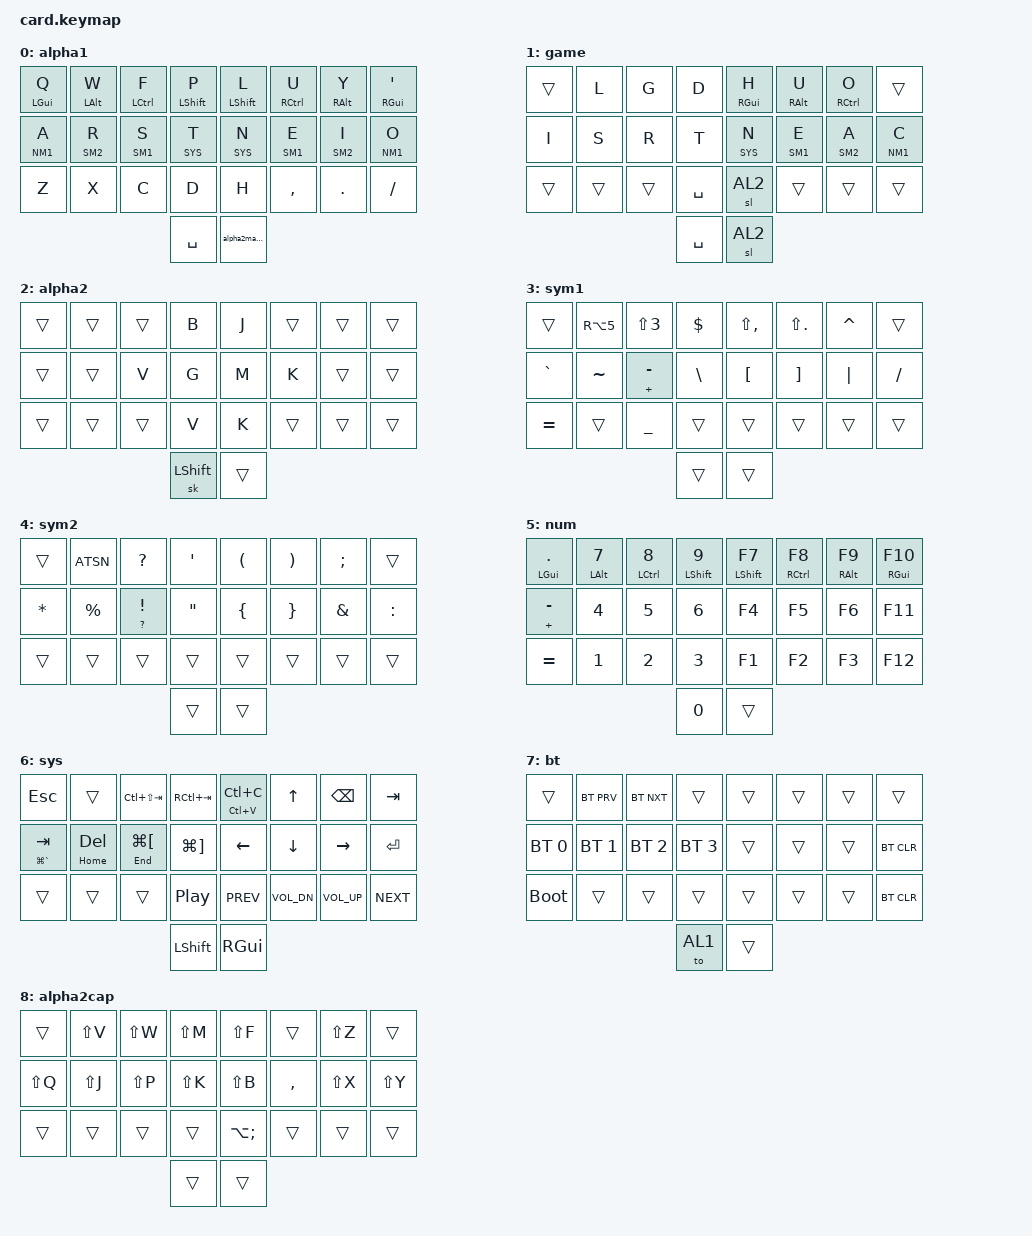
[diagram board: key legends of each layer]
/*
 * Copyright (c) 2020 The ZMK Contributors
 *
 * SPDX-License-Identifier: MIT
 */

#include <behaviors.dtsi>
#include <dt-bindings/zmk/keys.h>
#include <dt-bindings/zmk/bt.h>
#include <dt-bindings/zmk/mouse.h>


&mt {
    tapping-term-ms = <201>;
    flavor = "tap-preferred";
 };
&sk {
     release-after-ms = <2000>;
     quick-release;
 };
 
/* Layers */
#define AL1 0
#define GM 1
#define AL2 2
#define AL2U 8
#define SM1 3
#define SM2 4	
#define NM1 5	
#define SYS 6
#define BT 7	
/ { 
    combos {
        compatible = "zmk,combos";
        combo_game {
            timeout-ms = <30>;
	    key-positions = <2 3 4 5>;
            bindings = <&to GM>;
        };
        combo_sys {
            timeout-ms = <30>;
	    key-positions = <4 5 6>;
            bindings = <&to SYS>;
        };
        combo_caps {
            timeout-ms = <30>;
	    key-positions = <12 13 14>;
            bindings = <&caps_word>;
        };
        combo_bt  {
            timeout-ms = <10>;
            key-positions = <13 14>;
            bindings = <&to BT>;
	    layers = <SM1>; 
        };
        lalt {
            timeout-ms = <20>;
	    key-positions = <10 11>;
            bindings = <&kp LALT>; 
	    layers = <SYS>; 
        };
        lclk {
            timeout-ms = <20>;
	    key-positions = <12	13>;
            bindings = <&mkp LCLK>;
	    layers = <SYS>;
        };
        rclk {
            timeout-ms = <20>;
	    key-positions = <4 5>;
            bindings = <&mkp RCLK>;
	    layers = <SYS>;
        };
    };

    behaviors {
        hm: homerow_mods {
            compatible = "zmk,behavior-hold-tap";
            label = "HOMEROW_MODS";
            #binding-cells = <2>;
            tapping-term-ms = <300>;
            quick_tap_ms = <0>;
            flavor = "tap-preferred";
            bindings = <&kp>, <&kp>;
        };
        sr: shift_layer {
            compatible = "zmk,behavior-hold-tap";
            label = "SHIFT_LAYER";
            #binding-cells = <2>;
            tapping-term-ms = <300>;
            quick_tap_ms = <0>;
            flavor = "tap-preferred";
            bindings = <&kp>, <&to>;
	    retro-tap;
        };
        hl: homerow_layers {
            compatible = "zmk,behavior-hold-tap";
            label = "HOMEROW_LAYERS";
            #binding-cells = <2>;
            tapping-term-ms = <220>;
            quick_tap_ms = <0>;
            flavor = "tap-preferred";
            bindings = <&sl>, <&kp>;
        };
	td: tapdance {
            compatible = "zmk,behavior-hold-tap";
            label = "TAPDANCE";
            #binding-cells = <2>;
            tapping-term-ms = <190>;
            quick_tap_ms = <0>;
            flavor = "tap-preferred";
            bindings = <&kp>, <&kp>;
        };
	alpha2macro: behavior_macro_1 {
		compatible = "zmk,behavior-macro";
		label = "MACRO1";
		#binding-cells = <0>;
		bindings = < &sl AL2 >;
	};

//   00 01 02 03		04 05 06 07
//   08 09 10 11		12 13 14 15
//   16 17 18 19		20 21 22 23
//            24		25
    };
       keymap {
                compatible = "zmk,keymap";
                
       		alpha1 {
		bindings = <
		&hm LGUI Q 	&hm LALT W 		&hm LCTL F 		&hm LSHIFT P			&hm LSHIFT L 	&hm RCTL U    	&hm RALT Y	&hm RGUI SQT  
		&hl NM1 A	&hl SM2 R		&hl SM1 S		&hl SYS T 	 			&hl SYS N   	&hl SM1 E     	&hl SM2 I 	&hl NM1 O
		&kp Z	 	&kp X 			&kp C 			&kp D				 	&kp H			&kp COMMA		&kp DOT		&kp SLASH
													&kp SPC					&alpha2macro
		>;
		};
       		game {
		bindings = <
		&trans 		&kp L 			&kp G 			&kp D					&hm RGUI H 		&hm RALT U    	&hm RCTL O	&trans  
		&kp I		&kp S			&kp R			&kp T 		 			&hl SYS N    	&hl SM1 E   	&hl SM2  A 	&hl NM1 C
		&trans	 	&trans 			&trans 			&kp SPC 				&sl AL2			&trans 			&trans		&trans
													&kp SPC	 				&sl AL2
		>;
		};
       		alpha2 {
		bindings = <
		&trans 	 	&trans 			&trans			&kp B	 	 			&kp J    		&trans			&trans 		&trans
		&trans	 	&trans			&kp V			&kp G 					&kp M 			&kp K			&trans		&trans 
		&trans	 	&trans 			&trans 			&kp V	 				&kp K			&trans			&trans		&trans
													&sk LSHIFT	 			&trans
		>;
		};
		
       		sym1 {
		bindings = <
		&trans 		&kp RA(N5)  	&kp LS(N3)		&kp DLLR	    		&kp LS(COMMA)	&kp LS(DOT)		&kp CARET	&trans
		&kp GRAVE	&kp TILDE 		&td PLUS MINUS  &kp BSLH	 			&kp LBKT		&kp RBKT	 	&kp PIPE 	&kp SLASH
		&kp EQUAL	&trans  		&kp UNDER		&trans  				&trans			&trans 			&trans  	&trans
							 						&trans		 			&trans
		>;
		};
			sym2 {
		bindings = <
		&trans		&kp ATSN		&kp QMARK		&kp SQT					&kp LPRN		&kp RPRN 	&kp SEMI 	&trans
		&kp STAR  	&kp PRCNT		&td QMARK EXCL  &kp DQT   				&kp LBRC  		&kp RBRC	&kp AMPS	&kp COLON 
		&trans 		&trans 			&trans  		&trans 					&trans 			&trans 		&trans 		&trans   
						 							&trans					&trans

		>;
		};

			num {
		bindings = <
		&hm LGUI DOT		&hm LALT N7	 	&hm LCTL N8		&hm LSHIFT N9 		&hm LSHIFT F7 	&hm RCTL F8  	&hm RALT F9 &hm RGUI F10
		&td PLUS MINUS		&kp N4  		&kp N5			&kp N6				&kp F4  		&kp F5			&kp F6   	&kp F11
		&kp EQUAL  			&kp N1 			&kp N2			&kp N3		 		&kp F1 			&kp F2			&kp F3  	&kp F12
															&kp N0	 	 		&trans
		>;
		};

			sys {
		bindings = <
		&kp ESC				&trans			&kp LC(LS(TAB))		&kp RC(TAB)				&td LC(V) LC(C) 	&kp UP 			&kp BKSP		&kp TAB
		&td LG(GRAVE) TAB	&td HOME DEL	&td END LG(LBKT) 	&kp LG(RBKT)			&kp LEFT	  		&kp DOWN 		&kp RIGHT		&kp RET 
		&trans	 			&trans 		 	&trans				&kp C_PP	 			&kp C_PREV			&kp C_VOL_DN 	&kp C_VOL_UP	&kp C_NEXT 	   
									 							&kp LSHIFT		 		&kp RGUI
		>;
		};

			bt {
		bindings = <
		&trans			&bt BT_PRV		&bt BT_NXT		&trans 				&trans 		&trans		&trans		&trans
		&bt BT_SEL 0 	&bt BT_SEL 1 	&bt BT_SEL 2 	&bt BT_SEL 3 		&trans 		&trans 		&trans		&bt BT_CLR
		&bootloader		&trans	 		&trans			&trans				&trans 		&trans		&trans 		&bt BT_CLR
						 								&to AL1				&trans
		>;
		};

       		alpha2cap {
		bindings = <
		&trans 	 	&kp LS(V)	&kp LS(W)	&kp LS(M) 	 		&kp LS(F)    	&trans		&kp LS(Z)	&trans 
		&kp LS(Q) 	&kp LS(J) 	&kp LS(P)	&kp LS(K)			&kp LS(B)		&kp COMMA	&kp LS(X)	&kp LS(Y) 
		&trans	 	&trans 		&trans 		&trans 				&kp LA(SEMI)	&trans		&trans		&trans
											&trans	 			&trans
		>;
		};
        
	};
};
